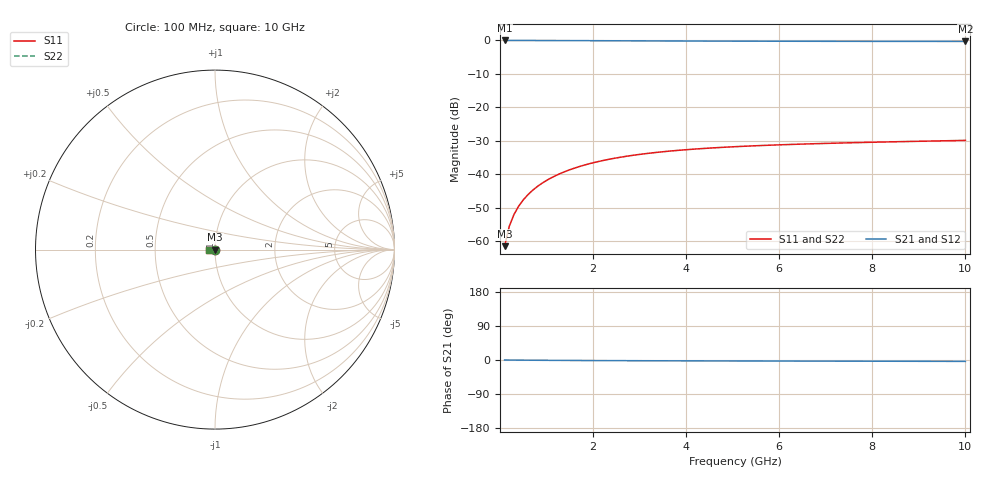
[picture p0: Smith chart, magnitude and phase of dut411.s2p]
! Touchstone file exported from HFSS 2024.1.0
!  File:  C:/UserFiles/LocalFiles/RDL_TSV_Batchsim/temp_TSV1_411_1779692421.aedt
!  Generated:  03:06:57 PM May 25, 2026
!  Design:  TSV1
!  Project:  temp_TSV1_411_1779692421
!  Setup:  Setup1
!  Solution:  Sweep
! Variables:
!  dtsv = 9.67um
!  hbump = 3um
!  htsv = 54.6um
!  lrdl = 252.1521522um
!  p = 40
!  p1 = 45.44um
!  t = 500um
!  trdl = 3um
!  wrdl = 24.89489489um
# GHz S MA R 50.000000
! Terminal data exported
! Port[1] = TSV22_T1
! Port[2] = TSV22_T2
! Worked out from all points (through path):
!   100 points, 100 MHz to 10 GHz, reference 50 ohm
!   highest |S21| = 0.00 dB at 100 MHz (marker M1); lowest = -0.3 dB at 10 GHz (marker M2)
!   lowest |S11| = -61.5 dB at 100 MHz (marker M3), VSWR 1.00, Z = 50 - j0.0838 ohm
!   |S11| at or under -10 dB: start of sweep to end of sweep
!   |S22| runs from -61.5 to -29.9 dB; largest |S21 - S12| = 2.8e-15
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0.1  0.0008441 -83.1  0.9998 -0.1  0.9998 -0.1  0.0008441 -83.1
! Gamma 0 0 0 0
! Port Impedance 50 0 50 0
0.2  0.001672 -89.2  0.9998 -0.2  0.9998 -0.2  0.001672 -89.2
0.3  0.002501 -92.3  0.9996 -0.3  0.9996 -0.3  0.002501 -92.3
0.4  0.003325 -94.8  0.9994 -0.3  0.9994 -0.3  0.003325 -94.8
0.5  0.004143 -96.9  0.9992 -0.4  0.9992 -0.4  0.004143 -96.9
0.6  0.004954 -98.9  0.9989 -0.5  0.9989 -0.5  0.004954 -98.9
0.7  0.005756 -100.8  0.9986 -0.6  0.9986 -0.6  0.005756 -100.8
0.8  0.006548 -102.7  0.9982 -0.7  0.9982 -0.7  0.006548 -102.7
0.9  0.007327 -104.4  0.9978 -0.7  0.9978 -0.7  0.007327 -104.4
1.1  0.008846 -107.9  0.9969 -0.9  0.9969 -0.9  0.008846 -107.9
1.4  0.01101 -112.7  0.9953 -1.1  0.9953 -1.1  0.01101 -112.7
1.6  0.01237 -115.8  0.9941 -1.2  0.9941 -1.2  0.01237 -115.8
1.8  0.01365 -118.8  0.9929 -1.3  0.9929 -1.3  0.01365 -118.8
2.1  0.01544 -123.0  0.9911 -1.5  0.9911 -1.5  0.01544 -123.0
2.5  0.01756 -128.2  0.9887 -1.7  0.9887 -1.7  0.01756 -128.2
2.9  0.01941 -133.0  0.9863 -1.9  0.9863 -1.9  0.01941 -133.0
3.4  0.02138 -138.4  0.9836 -2.1  0.9836 -2.1  0.02138 -138.4
4.2  0.02387 -145.9  0.9797 -2.3  0.9797 -2.3  0.02387 -145.9
5.1  0.02596 -153.0  0.9762 -2.5  0.9762 -2.5  0.02596 -153.0
6.7  0.02857 -163.1  0.9717 -2.9  0.9717 -2.9  0.02857 -163.1
8.4  0.03055 -171.6  0.9685 -3.3  0.9685 -3.3  0.03055 -171.6
10  0.03212 -178.4  0.9664 -3.7  0.9664 -3.7  0.03212 -178.4
